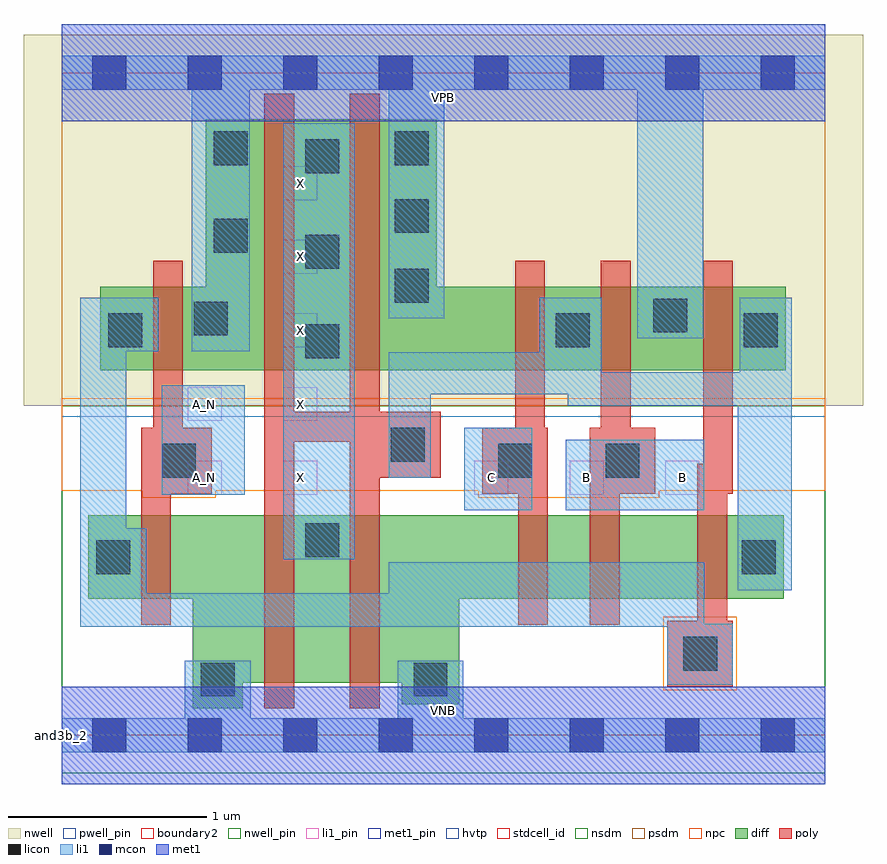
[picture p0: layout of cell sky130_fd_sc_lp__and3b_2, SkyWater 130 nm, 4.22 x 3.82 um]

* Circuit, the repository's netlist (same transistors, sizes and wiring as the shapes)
* Copyright 2020 The SkyWater PDK Authors
*
* Licensed under the Apache License, Version 2.0 (the "License");
* you may not use this file except in compliance with the License.
* You may obtain a copy of the License at
*
*     https://www.apache.org/licenses/LICENSE-2.0
*
* Unless required by applicable law or agreed to in writing, software
* distributed under the License is distributed on an "AS IS" BASIS,
* WITHOUT WARRANTIES OR CONDITIONS OF ANY KIND, either express or implied.
* See the License for the specific language governing permissions and
* limitations under the License.
*
* SPDX-License-Identifier: Apache-2.0

.SUBCKT sky130_fd_sc_lp__and3b_2 A_N B C VGND VNB VPB VPWR X
*.PININFO A_N:I B:I C:I VGND:I VNB:I VPB:I VPWR:I X:O
MMP0 y A VPWR VPB sky130_fd_pr__pfet_01v8_hvt m=1 w=0.42U l=0.15U mult=1 sa=0.265
+ sb=0.265 sd=0.28 area=0.063 perim=1.14
MMP1 y B VPWR VPB sky130_fd_pr__pfet_01v8_hvt m=1 w=0.42U l=0.15U mult=1 sa=0.265
+ sb=0.265 sd=0.28 area=0.063 perim=1.14
MMP2 y C VPWR VPB sky130_fd_pr__pfet_01v8_hvt m=1 w=0.42U l=0.15U mult=1 sa=0.265
+ sb=0.265 sd=0.28 area=0.063 perim=1.14
MMIP0 A A_N VPWR VPB sky130_fd_pr__pfet_01v8_hvt m=1 w=0.42U l=0.15U mult=1 sa=0.265
+ sb=0.265 sd=0.28 area=0.063 perim=1.14
MMIP1 X y VPWR VPB sky130_fd_pr__pfet_01v8_hvt m=2 w=1.26U l=0.15U mult=1 sa=0.265
+ sb=0.265 sd=0.28 area=0.063 perim=1.14
MMN0 y A sndA VNB sky130_fd_pr__nfet_01v8 m=1 w=0.42U l=0.15U mult=1 sa=0.265 sb=0.265
+ sd=0.28 area=0.063 perim=1.14
MMN1 sndA B sndB VNB sky130_fd_pr__nfet_01v8 m=1 w=0.42U l=0.15U mult=1 sa=0.265
+ sb=0.265 sd=0.28 area=0.063 perim=1.14
MMN2 sndB C VGND VNB sky130_fd_pr__nfet_01v8 m=1 w=0.42U l=0.15U mult=1 sa=0.265
+ sb=0.265 sd=0.28 area=0.063 perim=1.14
MMIN0 A A_N VGND VNB sky130_fd_pr__nfet_01v8 m=1 w=0.42U l=0.15U mult=1 sa=0.265
+ sb=0.265 sd=0.28 area=0.063 perim=1.14
MMIN1 X y VGND VNB sky130_fd_pr__nfet_01v8 m=2 w=0.84U l=0.15U mult=1 sa=0.265
+ sb=0.265 sd=0.28 area=0.063 perim=1.14
.ENDS sky130_fd_sc_lp__and3b_2

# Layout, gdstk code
import gdstk
lib = gdstk.Library(unit=1e-6, precision=1e-09)
def R(c, l, rs):  # rectangles x0, y0, x1, y1
    for r in rs: c.add(gdstk.rectangle(r[:2], r[2:], *l))
def A(c, l, x, y, w, h, nx, ny, dx, dy):  # array of equal rectangles
    R(c, l, [(x+i*dx, y+j*dy, x+i*dx+w, y+j*dy+h) for i in range(nx) for j in range(ny)])
def P(c, l, *ps):  # polygons
    for p in ps: c.add(gdstk.Polygon(p, *l))
nwell_pin = (64, 16)
nwell = (64, 20)
diff = (65, 20)
poly = (66, 20)
licon = (66, 44)
li1_pin = (67, 16)
li1 = (67, 20)
mcon = (67, 44)
met1_pin = (68, 16)
met1 = (68, 20)
hvtp = (78, 44)
stdcell_id = (81, 4)
nsdm = (93, 44)
psdm = (94, 20)
npc = (95, 20)
pwell_pin = (122, 16)
boundary2 = (236, 0)

sky130_fd_sc_lp__and3b_2 = lib.new_cell('sky130_fd_sc_lp__and3b_2')
R(sky130_fd_sc_lp__and3b_2, nwell_pin, [(0,3.085,3.84,3.33)])
R(sky130_fd_sc_lp__and3b_2, nwell, [(-0.19,1.655,4.03,3.52)])
P(sky130_fd_sc_lp__and3b_2, diff, [(3.63,1.105),(0.135,1.105),(0.135,0.685),(0.66,0.685),(0.66,0.135),(0.91,0.135),(0.91,0.265),(1.71,0.265),(1.71,0.155),(2,0.155),(2,0.685),(3.63,0.685)],
  [(3.64,2.255),(1.885,2.255),(1.885,3.095),(0.725,3.095),(0.725,2.255),(0.195,2.255),(0.195,1.835),(3.64,1.835)])
P(sky130_fd_sc_lp__and3b_2, poly, [(0.755,1.545),(0.61,1.545),(0.61,2.385),(0.46,2.385),(0.46,1.545),(0.4,1.545),(0.4,0.555),(0.55,0.555),(0.55,1.215),(0.755,1.215)],
  [(1.905,1.625),(1.6,1.625),(1.6,3.225),(1.45,3.225),(1.45,1.625),(1.17,1.625),(1.17,3.225),(1.02,3.225),(1.02,0.135),(1.17,0.135),(1.17,1.475),(1.45,1.475),(1.45,0.135),(1.6,0.135),(1.6,1.295),(1.905,1.295)],
  [(2.445,1.545),(2.43,1.545),(2.43,2.385),(2.28,2.385),(2.28,1.545),(2.115,1.545),(2.115,1.215),(2.295,1.215),(2.295,0.555),(2.445,0.555)],
  [(2.985,1.545),(2.86,1.545),(2.86,2.385),(2.71,2.385),(2.71,1.545),(2.655,1.545),(2.655,0.555),(2.805,0.555),(2.805,1.215),(2.985,1.215)],
  [(3.375,0.575),(3.345,0.575),(3.345,1.215),(3.375,1.215),(3.375,2.385),(3.225,2.385),(3.225,1.365),(3.195,1.365),(3.195,0.575),(3.045,0.575),(3.045,0.245),(3.375,0.245)])
R(sky130_fd_sc_lp__and3b_2, licon, [(0.7,0.195,0.87,0.365), (1.77,0.195,1.94,0.365), (3.125,0.325,3.295,0.495), (0.175,0.81,0.345,0.98), (3.42,0.81,3.59,0.98), (1.225,0.895,1.395,1.065), (0.505,1.295,0.675,1.465), (2.195,1.295,2.365,1.465), (2.735,1.295,2.905,1.465), (1.655,1.375,1.825,1.545), (1.225,1.895,1.395,2.065), (0.235,1.95,0.405,2.12), (2.485,1.95,2.655,2.12), (3.43,1.95,3.6,2.12), (0.665,2.01,0.835,2.18), (2.975,2.025,3.145,2.195), (1.675,2.175,1.845,2.345), (1.225,2.345,1.395,2.515), (0.765,2.425,0.935,2.595), (1.675,2.525,1.845,2.695), (1.225,2.825,1.395,2.995), (0.765,2.865,0.935,3.035), (1.675,2.865,1.845,3.035)])
A(sky130_fd_sc_lp__and3b_2, li1_pin, 1.115, 1.21, 0.17, 0.17, 1, 5, 0, 0.37)
A(sky130_fd_sc_lp__and3b_2, li1_pin, 2.075, 1.21, 0.17, 0.17, 3, 1, 0.48, 0)
R(sky130_fd_sc_lp__and3b_2, li1_pin, [(0.635,1.21,0.805,1.38), (0.635,1.58,0.805,1.75)])
R(sky130_fd_sc_lp__and3b_2, li1, [(1.115,0.885,1.475,3.075), (2.025,1.13,2.365,1.545), (2.535,1.13,3.23,1.485), (0.505,1.21,0.92,1.76)])
P(sky130_fd_sc_lp__and3b_2, li1, [(1.645,2.095),(1.645,3.245),(0.945,3.245),(0.945,1.93),(0.655,1.93),(0.655,3.245),(0,3.245),(0,3.415),(3.84,3.415),(3.84,3.245),(3.225,3.245),(3.225,1.995),(2.895,1.995),(2.895,3.245),(1.925,3.245),(1.925,2.095)],
  [(1.69,0.085),(1.69,0.375),(2.02,0.375),(2.02,0.085),(3.84,0.085),(3.84,-0.085),(0,-0.085),(0,0.085),(0.62,0.085),(0.62,0.375),(0.95,0.375),(0.95,0.085)],
  [(3.375,0.56),(3.23,0.56),(3.23,0.87),(1.645,0.87),(1.645,0.715),(0.425,0.715),(0.425,1.04),(0.325,1.04),(0.325,1.93),(0.485,1.93),(0.485,2.2),(0.095,2.2),(0.095,0.545),(3.045,0.545),(3.045,0.255),(3.375,0.255)],
  [(2.545,1.655),(2.545,1.715),(1.855,1.715),(1.855,1.295),(1.645,1.295),(1.645,1.925),(2.405,1.925),(2.405,2.2),(2.715,2.2),(2.715,1.825),(3.41,1.825),(3.41,2.2),(3.67,2.2),(3.67,0.73),(3.4,0.73),(3.4,1.655)])
A(sky130_fd_sc_lp__and3b_2, mcon, 0.155, -0.085, 0.17, 0.17, 8, 2, 0.48, 3.33)
R(sky130_fd_sc_lp__and3b_2, met1_pin, [(0,0,3.84,0.245), (0,3.085,3.84,3.33)])
R(sky130_fd_sc_lp__and3b_2, met1, [(0,-0.245,3.84,0.245), (0,3.085,3.84,3.575)])
R(sky130_fd_sc_lp__and3b_2, hvtp, [(0,1.6,3.84,3.33)])
R(sky130_fd_sc_lp__and3b_2, stdcell_id, [(0,0,3.84,3.33)])
R(sky130_fd_sc_lp__and3b_2, nsdm, [(0,-0.19,3.84,1.655)])
R(sky130_fd_sc_lp__and3b_2, psdm, [(0,1.655,3.84,3.52)])
R(sky130_fd_sc_lp__and3b_2, npc, [(3.025,0.225,3.395,0.595)])
P(sky130_fd_sc_lp__and3b_2, npc, [(3.84,1.695),(0,1.695),(0,1.23),(0.405,1.23),(0.405,1.195),(0.775,1.195),(0.775,1.23),(2.095,1.23),(2.095,1.195),(3.005,1.195),(3.005,1.23),(3.84,1.23)])
R(sky130_fd_sc_lp__and3b_2, pwell_pin, [(0,0,3.84,0.245)])
R(sky130_fd_sc_lp__and3b_2, boundary2, [(0,0,3.84,3.33)])
sky130_fd_sc_lp__and3b_2.add(gdstk.Label('VNB', (1.92,0.123), layer=64, texttype=59))
sky130_fd_sc_lp__and3b_2.add(gdstk.Label('VPB', (1.92,3.208), layer=64, texttype=5))
sky130_fd_sc_lp__and3b_2.add(gdstk.Label('and3b_2', (0,0), layer=83, texttype=44))
sky130_fd_sc_lp__and3b_2.add(gdstk.Label('VPWR', (1.92,3.208), layer=68, texttype=5))
sky130_fd_sc_lp__and3b_2.add(gdstk.Label('VGND', (1.92,0.123), layer=68, texttype=5))
sky130_fd_sc_lp__and3b_2.add(gdstk.Label('B', (2.64,1.295), layer=67, texttype=5))
sky130_fd_sc_lp__and3b_2.add(gdstk.Label('B', (3.12,1.295), layer=67, texttype=5))
sky130_fd_sc_lp__and3b_2.add(gdstk.Label('C', (2.16,1.295), layer=67, texttype=5))
sky130_fd_sc_lp__and3b_2.add(gdstk.Label('A_N', (0.72,1.295), layer=67, texttype=5))
sky130_fd_sc_lp__and3b_2.add(gdstk.Label('A_N', (0.72,1.665), layer=67, texttype=5))
sky130_fd_sc_lp__and3b_2.add(gdstk.Label('X', (1.2,1.295), layer=67, texttype=5))
sky130_fd_sc_lp__and3b_2.add(gdstk.Label('X', (1.2,1.665), layer=67, texttype=5))
sky130_fd_sc_lp__and3b_2.add(gdstk.Label('X', (1.2,2.035), layer=67, texttype=5))
sky130_fd_sc_lp__and3b_2.add(gdstk.Label('X', (1.2,2.405), layer=67, texttype=5))
sky130_fd_sc_lp__and3b_2.add(gdstk.Label('X', (1.2,2.775), layer=67, texttype=5))

lib.write_gds('sky130_fd_sc_lp__and3b_2.gds')
